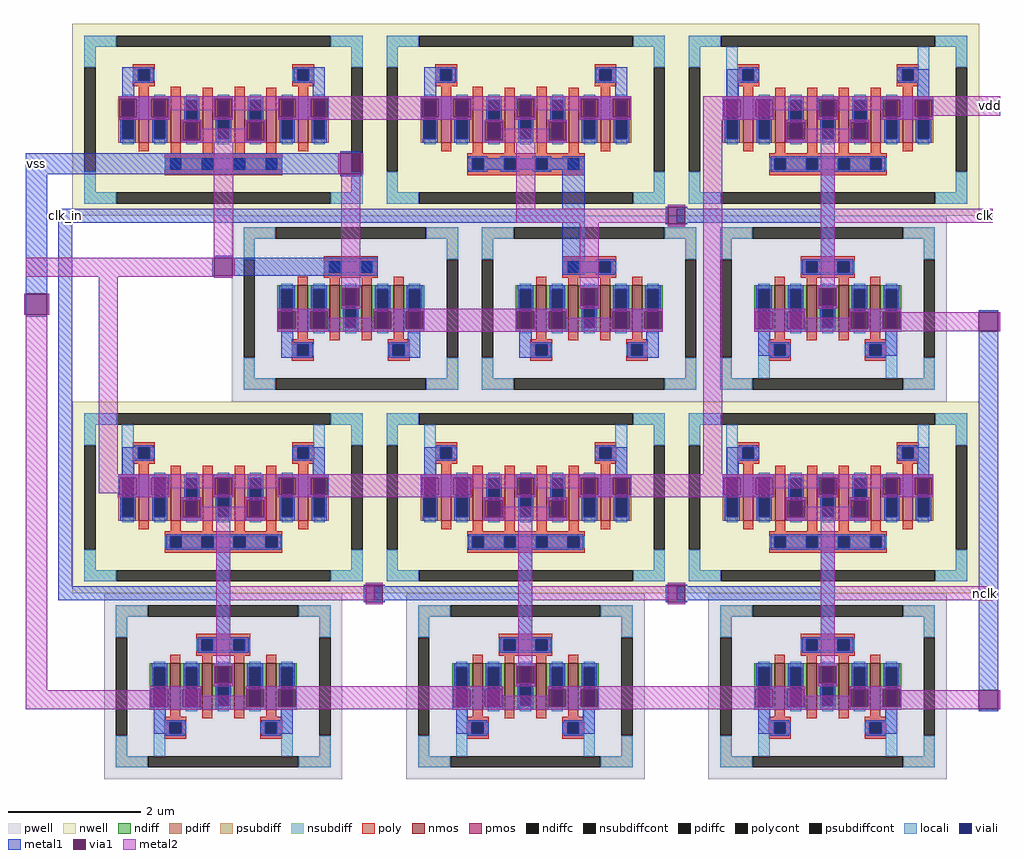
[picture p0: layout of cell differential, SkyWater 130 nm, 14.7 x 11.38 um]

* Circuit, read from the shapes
.subckt differential nclk clk vss vdd clk_in
XM1 vss vss vss vss sky130_fd_pr__nfet_01v8 w=0.7 l=0.15 m=8
XM2 inv_simple1_1/in clk_in vss vss sky130_fd_pr__nfet_01v8 w=0.7 l=0.15 m=2
XM3 n1 n1 n1 vss sky130_fd_pr__nfet_01v8 w=0.7 l=0.15 m=4
XM4 vss vdd n1 vss sky130_fd_pr__nfet_01v8 w=0.7 l=0.15 m=2
XM5 inv_simple1_2/in inv_simple1_1/in vss vss sky130_fd_pr__nfet_01v8 w=0.7 l=0.15 m=2
XM6 inv_simple1_3/in clk_in n1 vss sky130_fd_pr__nfet_01v8 w=0.7 l=0.15 m=2
XM7 nclk inv_simple1_2/in vss vss sky130_fd_pr__nfet_01v8 w=0.7 l=0.15 m=2
XM8 clk inv_simple1_3/in vss vss sky130_fd_pr__nfet_01v8 w=0.7 l=0.15 m=2
XM9 vdd vdd vdd vdd sky130_fd_pr__pfet_01v8 w=0.7 l=0.15 m=8
XM10 n2 n2 n2 vdd sky130_fd_pr__pfet_01v8 w=0.7 l=0.15 m=4
XM11 inv_simple1_1/in clk_in vdd vdd sky130_fd_pr__pfet_01v8 w=0.7 l=0.15 m=4
XM12 vdd vss n2 vdd sky130_fd_pr__pfet_01v8 w=0.7 l=0.15 m=4
XM13 inv_simple1_2/in inv_simple1_1/in vdd vdd sky130_fd_pr__pfet_01v8 w=0.7 l=0.15 m=4
XM14 inv_simple1_3/in clk_in n2 vdd sky130_fd_pr__pfet_01v8 w=0.7 l=0.15 m=4
XM15 nclk inv_simple1_2/in vdd vdd sky130_fd_pr__pfet_01v8 w=0.7 l=0.15 m=4
XM16 clk inv_simple1_3/in vdd vdd sky130_fd_pr__pfet_01v8 w=0.7 l=0.15 m=4
.ends

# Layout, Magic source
magic
tech sky130A
magscale 1 2
<< metal1 >>
rect 807 1886 871 1892
rect -139 1822 807 1886
rect -139 1463 -75 1822
rect 807 1816 871 1822
rect 1476 1719 1543 1876
rect -139 1393 -75 1399
rect -42 1677 1543 1719
rect -42 581 0 1677
rect 428 1571 483 1577
rect 422 1516 428 1571
rect 483 1516 920 1571
rect 1476 1520 1543 1677
rect 1788 1672 1794 1724
rect 1846 1672 1852 1724
rect 428 1510 483 1516
rect 2730 1407 2788 1413
rect -42 539 147 581
rect 878 534 884 586
rect 936 534 942 586
rect 1788 534 1794 586
rect 1846 534 1852 586
rect 2730 269 2788 1349
rect 2730 205 2788 211
<< via1 >>
rect 807 1822 871 1886
rect -139 1399 -75 1463
rect 428 1516 483 1571
rect 1794 1672 1846 1724
rect 2730 1349 2788 1407
rect 884 534 936 586
rect 1794 534 1846 586
rect 2730 211 2788 269
<< metal2 >>
rect 772 1987 1050 2057
rect 427 1571 485 1929
rect 801 1822 807 1886
rect 871 1822 877 1886
rect -139 1516 428 1571
rect 483 1516 489 1571
rect -139 1513 483 1516
rect -145 1399 -139 1463
rect -75 1399 -69 1463
rect -139 269 -75 1399
rect 80 919 138 1513
rect 428 1510 483 1513
rect 810 1488 868 1822
rect 1337 1719 1395 1917
rect 1794 1724 1846 1730
rect 1337 1677 1794 1719
rect 1528 1488 1586 1677
rect 1794 1666 1846 1672
rect 1060 1348 1337 1418
rect 1900 919 1958 2057
rect 2592 1999 2794 2057
rect 2730 1677 2772 1719
rect 2496 1349 2730 1407
rect 2788 1349 2794 1407
rect 80 861 147 919
rect 772 849 1048 919
rect 1682 849 1958 919
rect 884 586 936 592
rect 878 539 884 581
rect 1794 586 1846 592
rect 1788 539 1794 581
rect 884 528 936 534
rect 2730 539 2772 581
rect 1794 528 1846 534
rect -139 211 234 269
rect 676 211 1144 281
rect 1586 211 2054 281
rect 2496 211 2730 269
rect 2788 211 2794 269
use diff_n  diff_n_0
transform 1 0 1557 0 1 1418
box -359 -280 359 280
use diff_p  diff_p_0
transform 1 0 1366 0 1 1987
box -455 -289 455 289
use inv_simple1  inv_simple1_0
transform 1 0 53 0 1 613
box -53 -613 858 525
use inv_simple1  inv_simple1_1
transform 1 0 963 0 1 613
box -53 -613 858 525
use inv_simple1  inv_simple1_2
transform 1 0 1873 0 1 613
box -53 -613 858 525
use inv_simple1  inv_simple1_3
transform 1 0 1873 0 1 1751
box -53 -613 858 525
use diff_n  sky130_fd_pr__nfet_01v8_2AA63J_0
transform 1 0 839 0 1 1418
box -359 -280 359 280
use diff_p  sky130_fd_pr__pfet_01v8_X6FFBL_0
transform 1 0 456 0 1 1987
box -455 -289 455 289
<< labels >>
rlabel metal2 2730 539 2772 581 0 nclk
port 1 n
rlabel metal2 2730 1677 2772 1719 0 clk
port 2 n
rlabel metal2 2736 1999 2794 2057 5 vdd
port 4 n
rlabel metal1 -42 1677 0 1719 6 clk_in
port 5 n
rlabel metal1 -139 1822 -75 1886 7 vss
port 3 n
<< end >>

# cell diff_n: kit device sky130_fd_pr__nfet_01v8, w 0.7 l 0.150 m 1 nf 4 diffcov 100 polycov 100 guard 1 glc 1 grc 1 gtc 1 gbc 1 tbcov 100 rlcov 100 topc 1 botc 1 poverlap 0 doverlap 1 lmin 0.15 wmin 0.42 compatible {sky130_fd_pr__nfet_01v8 sky130_fd_pr__nfet_01v8_lvt sky130_fd_bs_flash__special_sonosfet_star sky130_fd_pr__nfet_g5v0d10v5 sky130_fd_pr__nfet_05v0_nvt sky130_fd_pr__nfet_03v3_nvt} full_metal 1 viasrc 100 viadrn 100 viagate 100 viagb 0 viagr 0 viagl 0 viagt 0

# cell diff_p: kit device sky130_fd_pr__pfet_01v8, w 0.7 l 0.15 m 1 nf 6 diffcov 100 polycov 100 guard 1 glc 1 grc 1 gtc 1 gbc 1 tbcov 100 rlcov 100 topc 1 botc 1 poverlap 0 doverlap 1 lmin 0.15 wmin 0.42 compatible {sky130_fd_pr__pfet_01v8 sky130_fd_pr__pfet_01v8_lvt sky130_fd_pr__pfet_01v8_hvt sky130_fd_pr__pfet_g5v0d10v5} full_metal 1 viasrc 100 viadrn 100 viagate 100 viagb 0 viagr 0 viagl 0 viagt 0

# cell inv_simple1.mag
magic
tech sky130A
magscale 1 2
<< locali >>
rect 97 306 131 455
rect 673 306 707 455
rect 193 -543 227 -403
rect 577 -543 611 -403
<< metal1 >>
rect 381 -32 423 79
rect -53 -74 423 -32
rect 381 -185 423 -74
<< metal2 >>
rect 85 236 239 306
rect 381 -32 423 166
rect 381 -74 857 -32
rect 381 -263 423 -74
rect 181 -403 335 -333
use sinv_n  sinv_n_0
transform 1 0 402 0 1 -333
box -359 -280 359 280
use sinv_p  sinv_p_0
transform 1 0 403 0 1 236
box -455 -289 455 289
<< labels >>
rlabel metal1 -53 -74 -11 -32 0 in
port 1 n
rlabel metal2 815 -74 857 -32 6 out
port 5 n
rlabel metal2 85 236 239 306 1 vdd
port 6 n
rlabel metal2 181 -403 335 -333 0 vss
port 4 n
<< end >>

# cell sinv_n: kit device sky130_fd_pr__nfet_01v8, w 0.7 l 0.150 m 1 nf 4 diffcov 100 polycov 100 guard 1 glc 1 grc 1 gtc 1 gbc 1 tbcov 100 rlcov 100 topc 1 botc 1 poverlap 0 doverlap 1 lmin 0.15 wmin 0.42 compatible {sky130_fd_pr__nfet_01v8 sky130_fd_pr__nfet_01v8_lvt sky130_fd_bs_flash__special_sonosfet_star sky130_fd_pr__nfet_g5v0d10v5 sky130_fd_pr__nfet_05v0_nvt sky130_fd_pr__nfet_03v3_nvt} full_metal 1 viasrc 100 viadrn 100 viagate 100 viagb 0 viagr 0 viagl 0 viagt 0

# cell sinv_p: kit device sky130_fd_pr__pfet_01v8, w 0.7 l 0.15 m 1 nf 6 diffcov 100 polycov 100 guard 1 glc 1 grc 1 gtc 1 gbc 1 tbcov 100 rlcov 100 topc 1 botc 1 poverlap 0 doverlap 1 lmin 0.15 wmin 0.42 compatible {sky130_fd_pr__pfet_01v8 sky130_fd_pr__pfet_01v8_lvt sky130_fd_pr__pfet_01v8_hvt sky130_fd_pr__pfet_g5v0d10v5} full_metal 1 viasrc 100 viadrn 100 viagate 100 viagb 0 viagr 0 viagl 0 viagt 0
